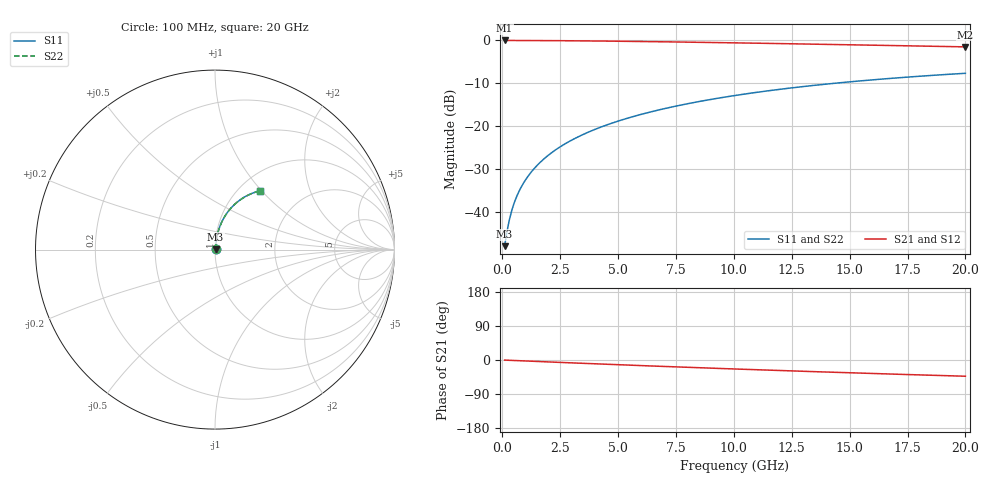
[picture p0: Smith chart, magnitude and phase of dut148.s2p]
! Touchstone file exported from HFSS 2024.1.0
!  File:  C:/UserFiles/LocalFiles/RDL_TSV_Batchsim/temp_RDL_bottom_148_1778697215.aedt
!  Generated:  02:36:27 AM May 14, 2026
!  Design:  RDL_bottom
!  Project:  temp_RDL_bottom_148_1778697215
!  Setup:  Setup1
!  Solution:  Sweep
! Variables:
!  dtsv = 10.80580581um
!  hbump = 3um
!  htsv = 56.86um
!  ldown = 621.5um
!  lrdl = 100um
!  p = 40
!  p1 = 43.53um
!  rhole = 1um
!  t = 450um
!  tdown = 4.56um
!  trdl = 3.915915916um
!  wdown = 15.69um
!  wrdl = 20um
# GHz S MA R 50.000000
! Terminal data exported
! Port[1] = RDL1_T1
! Port[2] = RDL1_T2
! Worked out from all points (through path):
!   200 points, 100 MHz to 20 GHz, reference 50 ohm
!   highest |S21| = -0.03 dB at 100 MHz (marker M1); lowest = -1.5 dB at 20 GHz (marker M2)
!   group delay of S21, straight-line fit = 5.93 ps
!   lowest |S11| = -47.9 dB at 100 MHz (marker M3), VSWR 1.01, Z = 50.3 + j0.247 ohm
!   |S11| at or under -10 dB: start of sweep to 14.34 GHz
!   |S22| runs from -47.9 to -7.7 dB; largest |S21 - S12| = 4.3e-15
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0.1  0.004021 37.7  0.9968 -0.3  0.9968 -0.3  0.004021 37.7
! Gamma 0 0 0 0
! Port Impedance 50 0 50 0
0.2  0.005887 56.1  0.9967 -0.5  0.9967 -0.5  0.005887 56.1
0.3  0.00804 64.7  0.9965 -0.8  0.9965 -0.8  0.008041 64.7
0.4  0.01027 69.5  0.9964 -1.0  0.9964 -1.0  0.01027 69.5
0.5  0.01251 72.5  0.9962 -1.3  0.9962 -1.3  0.01251 72.5
0.6  0.01474 74.5  0.996 -1.6  0.996 -1.6  0.01474 74.5
0.8  0.01922 77.1  0.9957 -2.1  0.9957 -2.1  0.01922 77.1
1.1  0.02594 79.3  0.9951 -2.8  0.9951 -2.8  0.02594 79.3
1.5  0.03495 80.8  0.9942 -3.8  0.9942 -3.8  0.03495 80.8
1.8  0.04174 81.3  0.9933 -4.6  0.9933 -4.6  0.04174 81.3
2.1  0.04855 81.6  0.9923 -5.3  0.9923 -5.3  0.04855 81.5
2.7  0.06221 81.6  0.9899 -6.8  0.9899 -6.8  0.06221 81.6
3.5  0.08048 81.0  0.9859 -8.8  0.9859 -8.8  0.08048 81.0
4.2  0.09649 80.3  0.9818 -10.5  0.9818 -10.5  0.09649 80.3
5  0.1148 79.2  0.9766 -12.4  0.9766 -12.4  0.1148 79.2
5.9  0.1353 77.9  0.9701 -14.5  0.9701 -14.5  0.1353 77.9
6.8  0.1558 76.5  0.9631 -16.6  0.9631 -16.6  0.1558 76.5
8.4  0.1918 73.7  0.9497 -20.2  0.9497 -20.2  0.1918 73.7
10.1  0.2292 70.6  0.9345 -23.8  0.9345 -23.8  0.2292 70.6
13.4  0.2978 64.4  0.9034 -30.6  0.9034 -30.6  0.2978 64.4
16.7  0.3596 58.3  0.8714 -36.9  0.8714 -36.9  0.3595 58.3
20  0.4135 52.4  0.8394 -42.8  0.8394 -42.8  0.4134 52.4
